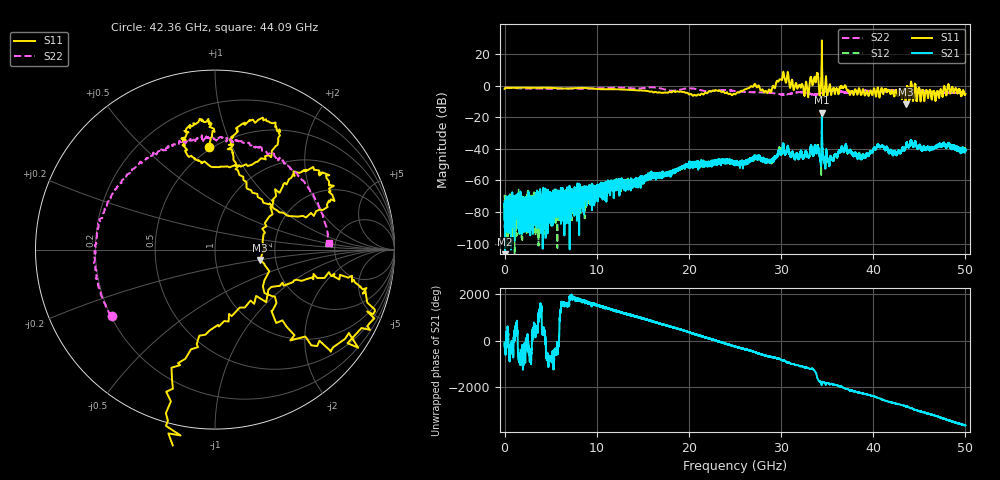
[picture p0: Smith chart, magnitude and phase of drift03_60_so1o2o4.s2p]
!Created with skrf (http://scikit-rf.org).
# Hz S RI R 50.0
!freq ReS11 ImS11 ReS21 ImS21 ReS12 ImS12 ReS22 ImS22
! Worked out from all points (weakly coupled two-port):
!   10000 points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, 5.3 MHz to 50 GHz, reference 50 ohm
!   highest |S21| = -17.23 dB at 34.43 GHz (marker M1); lowest = -111.0 dB at 50.3 MHz (marker M2)
!   lowest |S11| = -11.7 dB at 43.53 GHz (marker M3), VSWR 1.70, Z = 82.9 - j10.3 ohm
!   |S11| at or under -10 dB: 43.48479 GHz to 43.54382 GHz (59.04 MHz wide, 0.136 % of centre); 45.13358 GHz to 45.13687 GHz (3.297 MHz wide, 0.0073 % of centre)
!   |S22| runs from -5.8 to -1.1 dB; largest |S21 - S12| = 0.034
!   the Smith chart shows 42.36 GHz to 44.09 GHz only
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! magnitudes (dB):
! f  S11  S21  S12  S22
! 5.3 MHz  -2.1  -74.8  -74.1  -1.3
! 50.3 MHz  -1.6  -111.0  -70.9  -1.3
! 4.9 GHz  -1.4  -69.4  -79.3  -2.1
! 8.34 GHz  -1.5  -65.1  -71.3  -2.1
! 16.67 GHz  -4.4  -57.0  -56.6  -1.5
! 20.3 GHz  -5.6  -48.6  -48.6  -1.8
! 25.01 GHz  -5.5  -50.5  -48.7  -3.5
! 27.02 GHz  -0.3  -45.8  -46.5  -4.2
! 28.72 GHz  -2.5  -47.5  -48.0  -4.5
! 30.14 GHz  4.4  -40.5  -40.3  -5.7
! 32.74 GHz  2.0  -41.8  -41.9  -4.6
! 33.34 GHz  2.6  -39.7  -40.1  -5.5
! 33.82 GHz  4.0  -42.3  -41.9  -5.7
! 34.43 GHz  28.5  -17.2  -18.9  -4.6
! 35.31 GHz  0.6  -47.1  -46.5  -3.4
! 36.85 GHz  -0.7  -42.2  -41.5  -4.3
! 38.85 GHz  -2.8  -44.1  -44.1  -3.2
! 40.6 GHz  -4.3  -38.3  -38.0  -4.0
! 41.67 GHz  -3.0  -41.9  -42.2  -3.3
! 43.53 GHz  -11.7  -38.7  -38.5  -4.1
! 48.32 GHz  -4.5  -37.5  -38.0  -4.6
! 50 GHz  -5.2  -40.8  -40.7  -4.5
